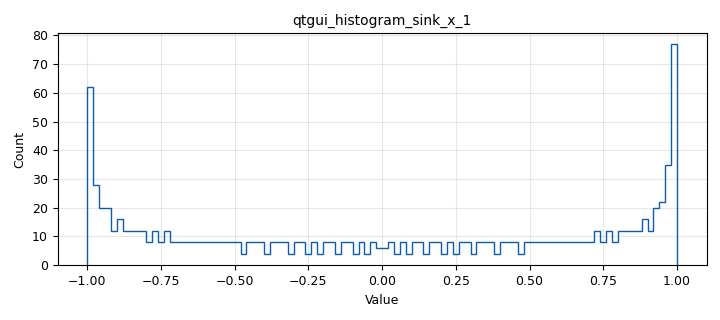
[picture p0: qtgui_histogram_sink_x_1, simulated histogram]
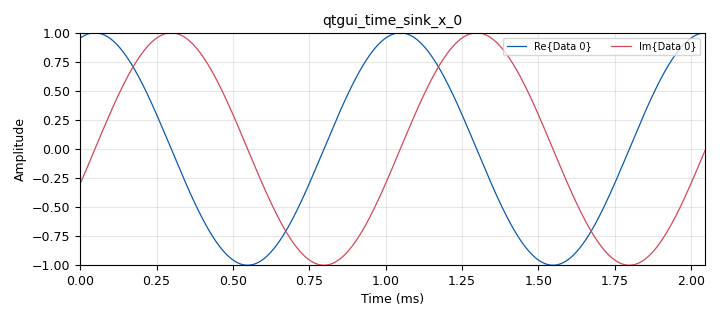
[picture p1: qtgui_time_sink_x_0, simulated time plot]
options:
  parameters:
    generate_options: qt_gui
    id: Mision7_JuanSMendoza_JuanPabon
    output_language: python
    title: Not titled yet
  states: {}

blocks:
- name: N_0
  id: variable_qtgui_range
  parameters:
    start: '0'
    step: '0.01'
    stop: '1'
    value: '0.1'
  states: {}
- name: samp_rate
  id: variable
  parameters:
    value: '500000'
  states: {}
- name: analog_noise_source_x_0
  id: analog_noise_source_x
  parameters:
    amp: N_0
    noise_type: analog.GR_GAUSSIAN
    seed: '0'
    type: complex
  states: {state: disabled}
- name: analog_sig_source_x_0
  id: analog_sig_source_x
  parameters:
    amp: '1'
    freq: '1000'
    offset: '0'
    phase: '0'
    samp_rate: samp_rate
    type: complex
    waveform: analog.GR_COS_WAVE
  states: {}
- name: blocks_complex_to_float_1
  id: blocks_complex_to_float
  parameters: {}
  states: {}
- name: blocks_stream_to_vector_decimator_0
  id: blocks_stream_to_vector_decimator
  parameters:
    sample_rate: samp_rate
    type: complex
    vec_rate: '30'
    vlen: '1024'
  states: {}
- name: blocks_throttle2_0
  id: blocks_throttle2
  parameters:
    maximum: '1024'
    samples_per_second: samp_rate
    type: complex
  states: {}
- name: epy_block_0
  id: epy_block
  parameters:
    _source_code: |
      """
      Embedded Python Blocks:

      Each time this file is saved, GRC will instantiate the first class it finds
      to get ports and parameters of your block. The arguments to __init__  will
      be the parameters. All of them are required to have default values!
      """

      import numpy as np
      from gnuradio import gr

      # Asegúrate de que el nombre de la clase sea 'blk'
      # GRC busca este nombre por defecto.
      class blk(gr.sync_block):
          """
          Calcula la potencia promedio de un vector de entrada.
          
          Entrada (in[0]): Vector de N items (complex)
          Salida (out[0]): 1 item (float)
          """

          def __init__(self, vector_size=1024):  # Parámetro para el tamaño del vector
              gr.sync_block.__init__(
                  self,
                  name='Estimador de Potencia',
                  in_sig=[(np.complex64, vector_size)],  # Entrada: Vector de complex64
                  out_sig=[np.float32]                  # Salida: Item de float32
              )
              # (Opcional) Guardar el tamaño si se necesita en work()
              self.vector_size = vector_size 

          def work(self, input_items, output_items):
              """
              input_items[0]: (NumPy array) 2D, forma (num_vectores_recibidos, vector_size)
              output_items[0]: (NumPy array) 1D, forma (num_vectores_recibidos,)
              """
              
              # Acceder a los buffers
              in_vectors = input_items[0]
              out_power = output_items[0]

              # 1. Calcular el cuadrado de la magnitud (|x|^2) para todos los vectores
              # La forma resultante es (num_vectores_recibidos, vector_size)
              mag_sq = np.abs(in_vectors)**2

              # 2. Calcular la media (promedio) a lo largo del eje del vector (axis=1)
              # Esto calcula el promedio para *cada* vector de entrada
              # La forma resultante es (num_vectores_recibidos,)
              avg_pwr = np.mean(mag_sq, axis=1) 

              # 3. Asignar los resultados al buffer de salida
              out_power[:] = avg_pwr

              # 4. Retornar el número de items de *salida* producidos
              # (Es igual al número de vectores de *entrada* consumidos)
              return len(out_power)
    vector_size: '1024'
  states: {}
- name: epy_block_1
  id: epy_block
  parameters:
    _source_code: |
      """
      Embedded Python Blocks:

      Each time this file is saved, GRC will instantiate the first class it finds
      to get ports and parameters of your block. The arguments to __init__  will
      be the parameters. All of them are required to have default values!
      """

      import numpy as np
      from gnuradio import gr

      # Asegúrate de que el nombre de la clase sea 'blk'
      class blk(gr.sync_block):
          """
          Calcula la media y la desviación estándar de la magnitud de un vector de entrada.
          
          Entrada (in[0]): Vector de N items (complex)
          Salida (out[0]): Media de la magnitud (float)
          Salida (out[1]): Desviación estándar de la magnitud (float)
          """

          def __init__(self, vector_size=1024):  # Parámetro para el tamaño del vector
              gr.sync_block.__init__(
                  self,
                  name='Estadísticas de Amplitud',
                  in_sig=[(np.complex64, vector_size)],  # Entrada: Vector de complex64
                  out_sig=[np.float32, np.float32]     # Salida 0: float, Salida 1: float
              )
              # (Opcional) Guardar el tamaño si se necesita en work()
              self.vector_size = vector_size 

          def work(self, input_items, output_items):
              """
              input_items[0]: (NumPy array) 2D, forma (num_vectores, vector_size)
              output_items[0]: (NumPy array) 1D, forma (num_vectores,)
              output_items[1]: (NumPy array) 1D, forma (num_vectores,)
              """
              
              # Acceder a los buffers
              in_vectors = input_items[0]
              out_mean = output_items[0]
              out_std = output_items[1]

              # 1. Calcular la magnitud de todas las muestras
              # La forma de 'magnitudes' es (num_vectores, vector_size)
              magnitudes = np.abs(in_vectors)

              # 2. Calcular la media (promedio) a lo largo del eje del vector (axis=1)
              # y asignarla a la primera salida (out[0]).
              # El resultado tiene forma (num_vectores,)
              out_mean[:] = np.mean(magnitudes, axis=1)

              # 3. Calcular la desviación estándar a lo largo del eje del vector (axis=1)
              # y asignarla a la segunda salida (out[1]).
              # El resultado tiene forma (num_vectores,)
              out_std[:] = np.std(magnitudes, axis=1)

              # 4. Retornar el número de items de *salida* producidos
              # (Es igual al número de vectores de *entrada* consumidos)
              return len(out_mean)
    vector_size: '1024'
  states: {}
- name: qtgui_histogram_sink_x_1
  id: qtgui_histogram_sink_x
  parameters:
    accum: 'True'
    bins: '100'
    size: '1024'
    type: float
    xmax: '1'
    xmin: '-1'
  states: {}
- name: qtgui_number_sink_0
  id: qtgui_number_sink
  parameters:
    graph_type: qtgui.NUM_GRAPH_HORIZ
    label1: Potencia
    label2: Media
    label3: Desviación Estandar
    nconnections: '3'
    type: float
  states: {}
- name: qtgui_time_sink_x_0
  id: qtgui_time_sink_x
  parameters:
    size: '1024'
    srate: samp_rate
    type: complex
  states: {}

connections:
- [analog_sig_source_x_0, '0', blocks_throttle2_0, '0']
- [blocks_complex_to_float_1, '0', qtgui_histogram_sink_x_1, '0']
- [blocks_stream_to_vector_decimator_0, '0', epy_block_0, '0']
- [blocks_stream_to_vector_decimator_0, '0', epy_block_1, '0']
- [blocks_throttle2_0, '0', blocks_complex_to_float_1, '0']
- [blocks_throttle2_0, '0', blocks_stream_to_vector_decimator_0, '0']
- [blocks_throttle2_0, '0', qtgui_time_sink_x_0, '0']
- [epy_block_0, '0', qtgui_number_sink_0, '0']
- [epy_block_1, '0', qtgui_number_sink_0, '1']
- [epy_block_1, '1', qtgui_number_sink_0, '2']

metadata:
  file_format: 1
  grc_version: v3.10.11.0-89-ga17f69e7
